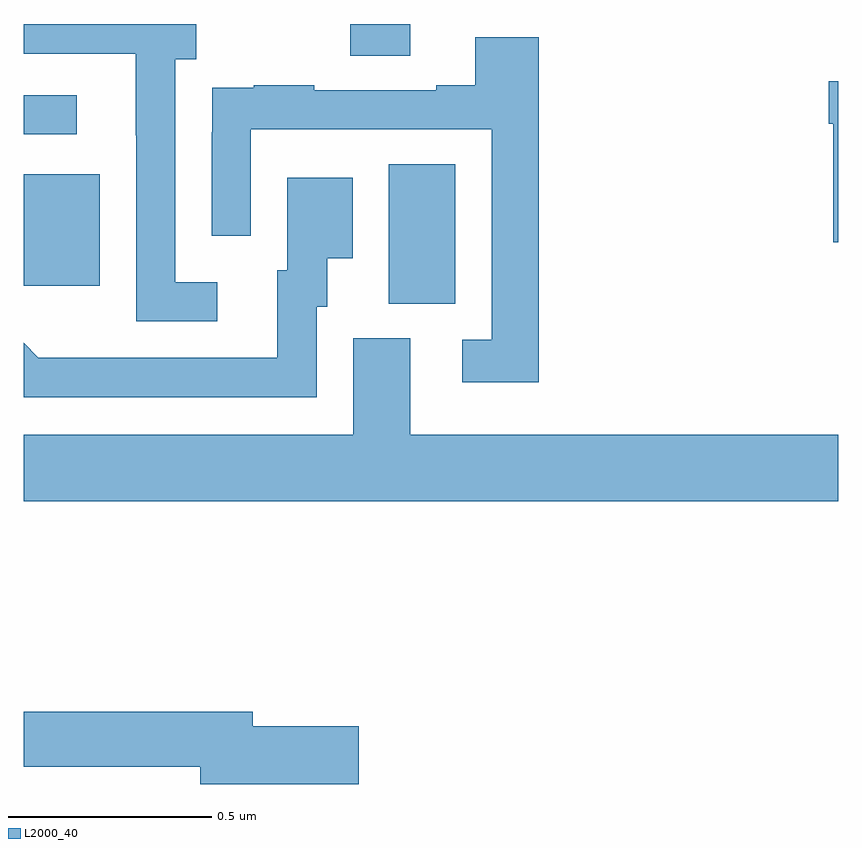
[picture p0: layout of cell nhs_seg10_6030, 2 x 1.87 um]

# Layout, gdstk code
import gdstk
lib = gdstk.Library(unit=1e-6, precision=1e-09)
def R(c, l, rs):  # rectangles x0, y0, x1, y1
    for r in rs: c.add(gdstk.rectangle(r[:2], r[2:], *l))
def P(c, l, *ps):  # polygons
    for p in ps: c.add(gdstk.Polygon(p, *l))
L2000_40 = (2000, 40)

nhs_seg10_6030 = lib.new_cell('nhs_seg10_6030')
R(nhs_seg10_6030, L2000_40, [(186.896,1288.813,187.06,1289.156), (186,1288.857,186.187,1289.131), (186,1289.229,186.13,1289.325), (186.802,1289.422,186.949,1289.5)])
P(nhs_seg10_6030, L2000_40, [(186.475,1288.866),(186.372,1288.866),(186.372,1289.414),(186.424,1289.414),(186.424,1289.5),(186,1289.5),(186,1289.427),(186.275,1289.427),(186.275,1289.227),(186.276,1289.227),(186.276,1288.77),(186.475,1288.77)],
  [(187.265,1289.467),(187.109,1289.467),(187.109,1289.35),(187.013,1289.35),(187.013,1289.337),(186.713,1289.337),(186.713,1289.35),(186.565,1289.35),(186.565,1289.343),(186.463,1289.343),(186.463,1289.234),(186.462,1289.234),(186.462,1288.98),(186.558,1288.98),(186.558,1289.241),(187.149,1289.241),(187.149,1288.725),(187.077,1288.725),(187.077,1288.62),(187.265,1288.62)],
  [(188,1289.359),(187.976,1289.359),(187.976,1289.255),(187.988,1289.255),(187.988,1288.964),(188,1288.964)],
  [(186.72,1288.806),(186.745,1288.806),(186.745,1288.925),(186.808,1288.925),(186.808,1289.122),(186.647,1289.122),(186.647,1288.896),(186.623,1288.896),(186.623,1288.68),(186.139,1288.68),(186.139,1288.681),(186.036,1288.681),(186,1288.717),(186,1288.584),(186.72,1288.584)],
  [(188,1288.492),(186.949,1288.492),(186.949,1288.728),(186.809,1288.728),(186.809,1288.492),(186,1288.492),(186,1288.328),(188,1288.328)],
  [(186.823,1287.776),(186.562,1287.776),(186.562,1287.812),(186,1287.812),(186,1287.676),(186.434,1287.676),(186.434,1287.634),(186.823,1287.634)])

lib.write_gds('nhs_seg10_6030.gds')
